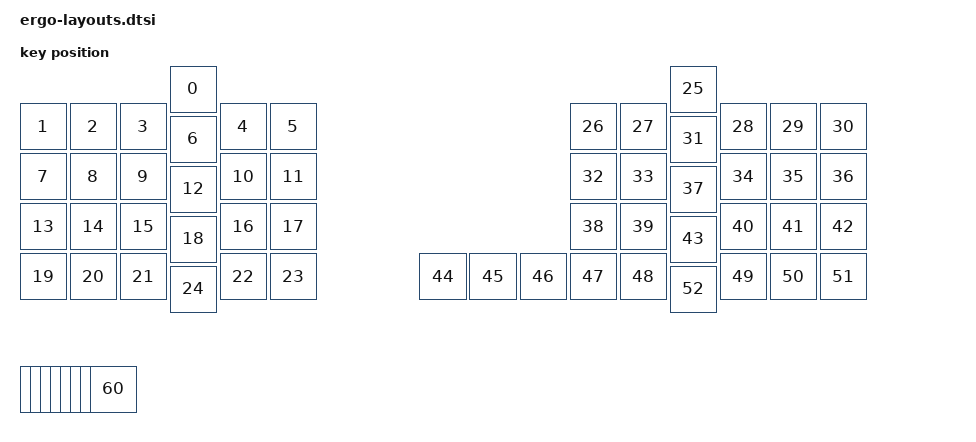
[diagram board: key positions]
/*
 * Physical layout for ZMK Studio - generated from the keyboard-layout-editor
 * (KLE) geometry of THIS board (53 physical keys: 25 left + 28 right), so the
 * Studio picture matches the real staggered columns and thumb clusters.
 *
 * Coordinates are in 1/100 of a key unit, taken directly from the KLE raw data.
 * The list has 61 entries to match the 61-position matrix transform 1:1:
 * 53 real keys at their true positions, then 8 "phantom" slots (the unpopulated
 * matrix cells on the right hand) parked together at the bottom-left so they're
 * obviously not real keys.
 *
 * NOTE: positions affect ONLY how the board is drawn in Studio - never the
 * keymap or scanning. If a key shows in the wrong cell, it's purely cosmetic;
 * nudge the x/y on that line. The matrix transform (&default_transform) is
 * attached to this layout in ergo.dtsi.
 */

#include <physical_layouts.dtsi>

/ {
    ergo_physical_layout: ergo_physical_layout {
        compatible = "zmk,physical-layout";
        display-name = "Ergo";

        keys =
              <&key_physical_attrs 100 100  300    0 0 0 0>  /* L0 */
            , <&key_physical_attrs 100 100    0   75 0 0 0>  /* L1 */
            , <&key_physical_attrs 100 100  100   75 0 0 0>  /* L2 */
            , <&key_physical_attrs 100 100  200   75 0 0 0>  /* L3 */
            , <&key_physical_attrs 100 100  400   75 0 0 0>  /* L4 */
            , <&key_physical_attrs 100 100  500   75 0 0 0>  /* L5 */
            , <&key_physical_attrs 100 100  300  100 0 0 0>  /* L6 */
            , <&key_physical_attrs 100 100    0  175 0 0 0>  /* L7 */
            , <&key_physical_attrs 100 100  100  175 0 0 0>  /* L8 */
            , <&key_physical_attrs 100 100  200  175 0 0 0>  /* L9 */
            , <&key_physical_attrs 100 100  400  175 0 0 0>  /* L10 */
            , <&key_physical_attrs 100 100  500  175 0 0 0>  /* L11 */
            , <&key_physical_attrs 100 100  300  200 0 0 0>  /* L12 */
            , <&key_physical_attrs 100 100    0  275 0 0 0>  /* L13 */
            , <&key_physical_attrs 100 100  100  275 0 0 0>  /* L14 */
            , <&key_physical_attrs 100 100  200  275 0 0 0>  /* L15 */
            , <&key_physical_attrs 100 100  400  275 0 0 0>  /* L16 */
            , <&key_physical_attrs 100 100  500  275 0 0 0>  /* L17 */
            , <&key_physical_attrs 100 100  300  300 0 0 0>  /* L18 */
            , <&key_physical_attrs 100 100    0  375 0 0 0>  /* L19 */
            , <&key_physical_attrs 100 100  100  375 0 0 0>  /* L20 */
            , <&key_physical_attrs 100 100  200  375 0 0 0>  /* L21 */
            , <&key_physical_attrs 100 100  400  375 0 0 0>  /* L22 */
            , <&key_physical_attrs 100 100  500  375 0 0 0>  /* L23 */
            , <&key_physical_attrs 100 100  300  400 0 0 0>  /* L24 */
            , <&key_physical_attrs 100 100 1300    0 0 0 0>  /* R0 */
            , <&key_physical_attrs 100 100 1100   75 0 0 0>  /* R1 */
            , <&key_physical_attrs 100 100 1200   75 0 0 0>  /* R2 */
            , <&key_physical_attrs 100 100 1400   75 0 0 0>  /* R3 */
            , <&key_physical_attrs 100 100 1500   75 0 0 0>  /* R4 */
            , <&key_physical_attrs 100 100 1600   75 0 0 0>  /* R5 */
            , <&key_physical_attrs 100 100 1300  100 0 0 0>  /* R6 */
            , <&key_physical_attrs 100 100 1100  175 0 0 0>  /* R7 */
            , <&key_physical_attrs 100 100 1200  175 0 0 0>  /* R8 */
            , <&key_physical_attrs 100 100 1400  175 0 0 0>  /* R9 */
            , <&key_physical_attrs 100 100 1500  175 0 0 0>  /* R10 */
            , <&key_physical_attrs 100 100 1600  175 0 0 0>  /* R11 */
            , <&key_physical_attrs 100 100 1300  200 0 0 0>  /* R12 */
            , <&key_physical_attrs 100 100 1100  275 0 0 0>  /* R13 */
            , <&key_physical_attrs 100 100 1200  275 0 0 0>  /* R14 */
            , <&key_physical_attrs 100 100 1400  275 0 0 0>  /* R15 */
            , <&key_physical_attrs 100 100 1500  275 0 0 0>  /* R16 */
            , <&key_physical_attrs 100 100 1600  275 0 0 0>  /* R17 */
            , <&key_physical_attrs 100 100 1300  300 0 0 0>  /* R18 */
            , <&key_physical_attrs 100 100  800  375 0 0 0>  /* R19 */
            , <&key_physical_attrs 100 100  900  375 0 0 0>  /* R20 */
            , <&key_physical_attrs 100 100 1000  375 0 0 0>  /* R21 */
            , <&key_physical_attrs 100 100 1100  375 0 0 0>  /* R22 */
            , <&key_physical_attrs 100 100 1200  375 0 0 0>  /* R23 */
            , <&key_physical_attrs 100 100 1400  375 0 0 0>  /* R24 */
            , <&key_physical_attrs 100 100 1500  375 0 0 0>  /* R25 */
            , <&key_physical_attrs 100 100 1600  375 0 0 0>  /* R26 */
            , <&key_physical_attrs 100 100 1300  400 0 0 0>  /* R27 */
            , <&key_physical_attrs 100 100    0  600 0 0 0>  /* phantom0 */
            , <&key_physical_attrs 100 100   20  600 0 0 0>  /* phantom1 */
            , <&key_physical_attrs 100 100   40  600 0 0 0>  /* phantom2 */
            , <&key_physical_attrs 100 100   60  600 0 0 0>  /* phantom3 */
            , <&key_physical_attrs 100 100   80  600 0 0 0>  /* phantom4 */
            , <&key_physical_attrs 100 100  100  600 0 0 0>  /* phantom5 */
            , <&key_physical_attrs 100 100  120  600 0 0 0>  /* phantom6 */
            , <&key_physical_attrs 100 100  140  600 0 0 0>  /* phantom7 */
            ;
    };
};
